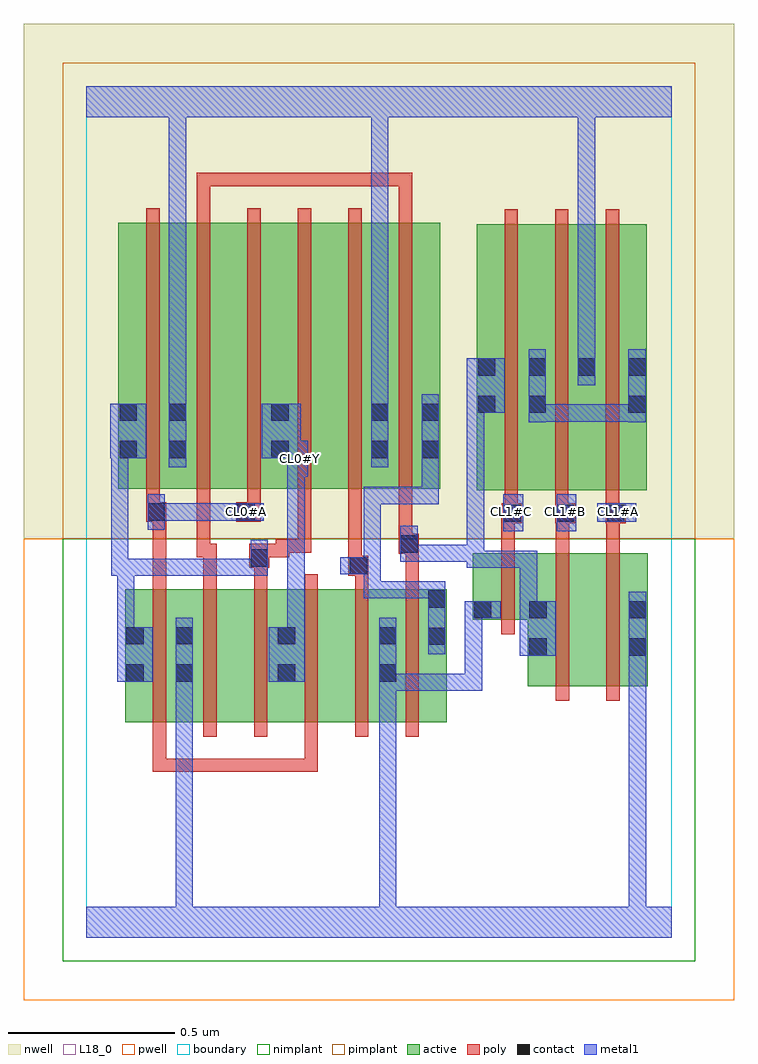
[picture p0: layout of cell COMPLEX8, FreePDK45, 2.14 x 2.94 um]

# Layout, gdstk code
import gdstk
lib = gdstk.Library(unit=1e-6, precision=1e-09)
def R(c, l, rs):  # rectangles x0, y0, x1, y1
    for r in rs: c.add(gdstk.rectangle(r[:2], r[2:], *l))
def A(c, l, x, y, w, h, nx, ny, dx, dy):  # array of equal rectangles
    R(c, l, [(x+i*dx, y+j*dy, x+i*dx+w, y+j*dy+h) for i in range(nx) for j in range(ny)])
active = (1, 0)
pwell = (2, 0)
nwell = (3, 0)
nimplant = (4, 0)
pimplant = (5, 0)
poly = (9, 0)
contact = (10, 0)
metal1 = (11, 0)
L18_0 = (18, 0)
boundary = (235, 0)

complex8 = lib.new_cell('COMPLEX8')
R(complex8, active, [(0.116,0.648,0.176,1.048), (0.116,0.648,0.324,1.048), (0.264,0.648,0.324,1.048), (0.264,0.648,0.448,1.048), (0.448,0.648,0.632,1.048), (0.572,0.648,0.632,1.048), (0.572,0.648,0.752,1.048), (0.752,0.648,0.936,1.048), (0.876,0.648,0.936,1.048), (0.876,0.648,1.084,1.048), (1.024,0.648,1.084,1.048), (1.328,0.756,1.388,1.156), (1.328,0.756,1.508,1.156), (1.508,0.756,1.688,1.156), (1.628,0.756,1.688,1.156), (1.162,0.956,1.388,1.156), (1.162,0.956,1.222,1.156), (1.174,1.346,1.234,2.096), (1.174,1.346,1.386,2.146), (1.326,1.346,1.534,2.146), (1.474,1.346,1.686,2.146), (1.626,1.346,1.686,2.096), (0.096,1.35,0.304,2.15), (0.096,1.35,0.156,2.15), (0.244,1.35,0.304,2.15), (0.244,1.35,0.428,2.15), (0.428,1.35,0.612,2.15), (0.552,1.35,0.612,2.15), (0.552,1.35,0.732,2.15), (0.732,1.35,0.912,2.15), (0.852,1.35,1.064,2.15), (0.852,1.35,0.912,2.044), (1.004,1.35,1.064,2.15), (1.326,1.416,1.386,2.096), (1.474,1.686,1.534,2.146)])
R(complex8, pwell, [(-0.188,-0.188,1.948,1.2)])
R(complex8, nwell, [(-0.188,1.2,1.948,2.748)])
R(complex8, nimplant, [(-0.072,-0.072,1.832,1.2)])
R(complex8, pimplant, [(-0.072,1.2,1.832,2.632)])
A(complex8, poly, 0.2, 0.604, 0.04, 0.488, 6, 1, 0.152, 0)
A(complex8, poly, 1.258, 1.266, 0.04, 0.076, 3, 1, 0.152, 0)
A(complex8, poly, 1.258, 1.302, 0.04, 0.888, 3, 1, 0.152, 0)
A(complex8, poly, 0.18, 1.306, 0.04, 0.888, 6, 1, 0.152, 0)
R(complex8, poly, [(0.2,0.498,0.24,0.538), (0.2,0.498,0.24,0.644), (0.2,0.498,0.346,0.538), (0.306,0.498,0.346,0.538), (0.306,0.498,0.346,0.538), (0.306,0.498,0.346,0.538), (0.306,0.498,0.504,0.538), (0.464,0.498,0.504,0.538), (0.464,0.498,0.504,0.538), (0.464,0.498,0.504,0.538), (0.464,0.498,0.696,0.538), (0.656,0.498,0.696,0.538), (0.656,0.498,0.696,0.538), (0.656,0.498,0.696,0.538), (0.656,0.498,0.696,0.644), (1.412,0.712,1.452,1.2), (1.564,0.712,1.604,1.2), (1.248,0.912,1.288,1.2), (0.2,1.052,0.24,1.29), (0.352,1.052,0.392,1.184), (0.504,1.052,0.544,1.152), (0.808,1.052,0.848,1.128), (0.96,1.052,1,1.194), (0.788,1.088,0.848,1.148), (0.788,1.108,0.828,1.148), (0.788,1.108,0.828,1.148), (0.788,1.108,0.828,1.346), (0.49,1.112,0.55,1.184), (0.332,1.144,0.372,1.184), (0.332,1.144,0.372,1.184), (0.332,1.144,0.372,1.346), (0.332,1.144,0.392,1.184), (0.51,1.144,0.61,1.184), (0.57,1.144,0.61,1.198), (0.94,1.154,1,1.214), (0.57,1.158,0.676,1.198), (0.636,1.158,0.676,1.198), (0.636,1.158,0.676,1.198), (0.636,1.158,0.676,1.198), (0.636,1.158,0.676,1.346), (1.248,1.16,1.288,1.286), (1.412,1.16,1.452,1.286), (1.564,1.16,1.604,1.286), (0.94,1.174,0.98,1.214), (0.94,1.174,0.98,1.214), (0.94,1.174,0.98,1.346), (1.248,1.246,1.29,1.286), (1.25,1.246,1.29,1.286), (1.25,1.246,1.31,1.306), (1.41,1.246,1.47,1.306), (1.562,1.246,1.622,1.306), (1.564,1.246,1.604,1.286), (1.564,1.246,1.604,1.286), (0.18,1.25,0.24,1.31), (0.2,1.25,0.24,1.29), (0.2,1.25,0.24,1.29), (0.45,1.25,0.524,1.31), (1.41,1.266,1.45,1.306), (1.41,1.266,1.45,1.306), (0.18,1.27,0.22,1.346), (0.484,1.27,0.524,1.346), (0.332,2.154,0.372,2.3), (0.94,2.154,0.98,2.3), (0.332,2.26,0.372,2.3), (0.332,2.26,0.504,2.3), (0.464,2.26,0.504,2.3), (0.464,2.26,0.504,2.3), (0.464,2.26,0.504,2.3), (0.464,2.26,0.722,2.3), (0.682,2.26,0.722,2.3), (0.682,2.26,0.722,2.3), (0.682,2.26,0.722,2.3), (0.682,2.26,0.874,2.3), (0.834,2.26,0.874,2.3), (0.834,2.26,0.874,2.3), (0.834,2.26,0.874,2.3), (0.834,2.26,0.98,2.3), (0.94,2.26,0.98,2.3), (0.94,2.26,0.98,2.3), (0.94,2.26,0.98,2.3)])
R(complex8, contact, [(0.12,0.77,0.172,0.822), (0.268,0.77,0.32,0.822), (0.576,0.77,0.628,0.822), (0.88,0.77,0.932,0.822), (1.332,0.848,1.384,0.9), (1.632,0.848,1.684,0.9), (1.028,0.88,1.08,0.932), (0.12,0.882,0.172,0.934), (0.268,0.882,0.32,0.934), (0.576,0.882,0.628,0.934), (0.88,0.882,0.932,0.934), (1.166,0.96,1.218,1.012), (1.332,0.96,1.384,1.012), (1.632,0.96,1.684,1.012), (1.028,0.992,1.08,1.044), (0.792,1.092,0.844,1.144), (0.494,1.116,0.546,1.168), (0.944,1.158,0.996,1.21), (1.254,1.25,1.306,1.302), (1.414,1.25,1.466,1.302), (1.566,1.25,1.618,1.302), (0.184,1.254,0.236,1.306), (0.454,1.254,0.506,1.306), (0.1,1.442,0.152,1.494), (0.248,1.442,0.3,1.494), (0.556,1.442,0.608,1.494), (0.856,1.442,0.908,1.494), (1.008,1.442,1.06,1.494), (0.1,1.554,0.152,1.606), (0.248,1.554,0.3,1.606), (0.556,1.554,0.608,1.606), (0.856,1.554,0.908,1.606), (1.008,1.554,1.06,1.606), (1.178,1.578,1.23,1.63), (1.33,1.578,1.382,1.63), (1.63,1.578,1.682,1.63), (1.178,1.69,1.23,1.742), (1.33,1.69,1.382,1.742), (1.478,1.69,1.53,1.742), (1.63,1.69,1.682,1.742)])
R(complex8, metal1, [(0,0,1.76,0.092), (0.268,0.04,0.32,0.092), (0.268,0.04,0.32,0.092), (0.268,0.04,0.32,0.092), (0.268,0.04,0.32,0.092), (0.268,0.04,0.32,0.092), (0.268,0.04,0.32,0.092), (0.268,0.04,0.32,0.794), (0.88,0.04,0.932,0.092), (0.88,0.04,0.932,0.092), (0.88,0.04,0.932,0.092), (0.88,0.04,0.932,0.092), (0.88,0.04,0.932,0.092), (0.88,0.04,0.932,0.092), (0.88,0.04,0.932,0.092), (0.88,0.04,0.932,0.092), (0.88,0.04,0.932,0.794), (1.632,0.04,1.684,0.092), (1.632,0.04,1.684,0.092), (1.632,0.04,1.684,0.092), (1.632,0.04,1.684,0.092), (1.632,0.04,1.684,0.872), (0.268,0.742,0.32,0.794), (0.268,0.742,0.32,0.794), (0.268,0.742,0.32,0.794), (0.268,0.742,0.32,0.794), (0.268,0.742,0.32,0.794), (0.268,0.742,0.32,0.794), (0.268,0.742,0.32,0.962), (0.88,0.742,0.932,0.794), (0.88,0.742,0.932,0.794), (0.88,0.742,0.932,0.794), (0.88,0.742,0.932,0.794), (0.88,0.742,0.932,0.962), (0.88,0.742,1.08,0.794), (1.028,0.742,1.08,0.794), (1.028,0.742,1.08,0.794), (1.028,0.742,1.08,0.794), (1.028,0.742,1.19,0.794), (1.138,0.742,1.19,0.794), (1.138,0.742,1.19,1.012), (0.092,0.77,0.2,0.934), (0.548,0.77,0.656,0.934), (1.632,0.82,1.684,0.872), (1.632,0.82,1.684,0.872), (1.632,0.82,1.684,0.872), (1.632,0.82,1.684,0.872), (1.632,0.82,1.684,0.872), (1.632,0.82,1.684,0.872), (1.632,0.82,1.684,0.872), (1.632,0.82,1.684,0.872), (1.632,0.82,1.684,1.04), (1.304,0.848,1.412,1.012), (1.028,0.852,1.08,1.072), (0.092,0.882,0.144,1.14), (0.604,0.882,0.656,1.438), (1.138,0.96,1.19,1.012), (1.138,0.96,1.19,1.012), (1.138,0.96,1.246,1.012), (1.304,0.96,1.356,1.164), (0.834,1.02,0.886,1.072), (0.834,1.02,1.08,1.072), (0.834,1.02,0.886,1.144), (1.028,1.02,1.08,1.072), (1.028,1.02,1.08,1.072), (0.074,1.088,0.144,1.14), (0.074,1.088,0.126,1.494), (0.092,1.088,0.144,1.14), (0.092,1.088,0.144,1.14), (0.092,1.088,0.346,1.14), (0.294,1.088,0.346,1.14), (0.294,1.088,0.346,1.14), (0.294,1.088,0.346,1.14), (0.294,1.088,0.47,1.14), (0.418,1.088,0.47,1.14), (0.418,1.088,0.546,1.14), (0.494,1.088,0.546,1.196), (0.764,1.092,0.872,1.144), (0.82,1.092,0.886,1.144), (0.834,1.092,0.886,1.144), (0.834,1.092,0.886,1.356), (1.144,1.112,1.196,1.164), (1.144,1.112,1.196,1.164), (1.144,1.112,1.356,1.164), (1.144,1.112,1.196,1.182), (1.304,1.112,1.356,1.164), (0.944,1.13,0.996,1.238), (0.944,1.13,1.086,1.182), (1.034,1.13,1.086,1.182), (1.034,1.13,1.196,1.182), (1.144,1.13,1.196,1.63), (1.254,1.222,1.314,1.334), (1.414,1.222,1.474,1.334), (0.184,1.226,0.236,1.334), (1.536,1.25,1.654,1.306), (0.184,1.254,0.254,1.306), (0.202,1.254,0.254,1.306), (0.202,1.254,0.346,1.306), (0.294,1.254,0.346,1.306), (0.294,1.254,0.47,1.306), (0.418,1.254,0.47,1.306), (0.418,1.254,0.478,1.306), (0.426,1.254,0.534,1.306), (0.834,1.304,0.886,1.356), (0.834,1.304,1.06,1.356), (1.008,1.304,1.06,1.356), (1.008,1.304,1.06,1.356), (1.008,1.304,1.06,1.356), (1.008,1.304,1.06,1.466), (0.604,1.386,0.666,1.494), (0.248,1.414,0.3,1.634), (0.856,1.414,0.908,1.634), (1.008,1.414,1.06,1.634), (0.072,1.442,0.18,1.606), (0.074,1.442,0.126,1.494), (0.074,1.442,0.126,1.494), (0.528,1.442,0.644,1.606), (0.592,1.442,0.644,1.494), (0.592,1.442,0.656,1.494), (0.604,1.442,0.656,1.494), (1.33,1.55,1.382,1.77), (1.63,1.55,1.682,1.77), (1.33,1.552,1.382,1.604), (1.33,1.552,1.382,1.604), (1.33,1.552,1.572,1.604), (1.52,1.552,1.572,1.604), (1.52,1.552,1.682,1.604), (1.63,1.552,1.682,1.604), (1.63,1.552,1.682,1.604), (1.144,1.578,1.196,1.63), (1.144,1.578,1.196,1.63), (1.144,1.578,1.258,1.742), (0.248,1.582,0.3,1.634), (0.248,1.582,0.3,1.634), (0.248,1.582,0.3,2.52), (0.856,1.582,0.908,2.52), (1.478,1.662,1.53,1.77), (1.478,1.718,1.53,1.77), (1.478,1.718,1.53,1.77), (1.478,1.718,1.53,1.77), (1.478,1.718,1.53,1.77), (1.478,1.718,1.53,2.52), (0,2.468,1.76,2.56), (0.248,2.468,0.3,2.52), (0.248,2.468,0.3,2.52), (0.248,2.468,0.3,2.52), (0.248,2.468,0.3,2.52), (0.248,2.468,0.3,2.52), (0.248,2.468,0.3,2.52), (0.856,2.468,0.908,2.52), (0.856,2.468,0.908,2.52), (0.856,2.468,0.908,2.52), (0.856,2.468,0.908,2.52), (0.856,2.468,0.908,2.52), (0.856,2.468,0.908,2.52), (0.856,2.468,0.908,2.52), (0.856,2.468,0.908,2.52), (1.478,2.468,1.53,2.52), (1.478,2.468,1.53,2.52), (1.478,2.468,1.53,2.52), (1.478,2.468,1.53,2.52)])
A(complex8, L18_0, 1.254, 1.254, 0.052, 0.052, 3, 1, 0.16, 0)
R(complex8, L18_0, [(0,0,1.76,0.092), (0.268,0.04,0.32,0.092), (0.268,0.04,0.32,0.092), (0.268,0.04,0.32,0.092), (0.268,0.04,0.32,0.092), (0.268,0.04,0.32,0.092), (0.268,0.04,0.32,0.092), (0.268,0.04,0.32,0.794), (0.88,0.04,0.932,0.092), (0.88,0.04,0.932,0.092), (0.88,0.04,0.932,0.092), (0.88,0.04,0.932,0.092), (0.88,0.04,0.932,0.092), (0.88,0.04,0.932,0.092), (0.88,0.04,0.932,0.092), (0.88,0.04,0.932,0.092), (0.88,0.04,0.932,0.794), (1.632,0.04,1.684,0.092), (1.632,0.04,1.684,0.092), (1.632,0.04,1.684,0.092), (1.632,0.04,1.684,0.092), (1.632,0.04,1.684,0.872), (0.268,0.742,0.32,0.794), (0.268,0.742,0.32,0.794), (0.268,0.742,0.32,0.794), (0.268,0.742,0.32,0.794), (0.268,0.742,0.32,0.794), (0.268,0.742,0.32,0.794), (0.268,0.742,0.32,0.962), (0.88,0.742,0.932,0.794), (0.88,0.742,0.932,0.794), (0.88,0.742,0.932,0.794), (0.88,0.742,0.932,0.794), (0.88,0.742,0.932,0.962), (0.88,0.742,1.08,0.794), (1.028,0.742,1.08,0.794), (1.028,0.742,1.08,0.794), (1.028,0.742,1.08,0.794), (1.028,0.742,1.19,0.794), (1.138,0.742,1.19,0.794), (1.138,0.742,1.19,1.012), (0.548,0.77,0.656,0.934), (1.632,0.82,1.684,0.872), (1.632,0.82,1.684,0.872), (1.632,0.82,1.684,0.872), (1.632,0.82,1.684,0.872), (1.632,0.82,1.684,0.872), (1.632,0.82,1.684,0.872), (1.632,0.82,1.684,0.872), (1.632,0.82,1.684,0.872), (1.632,0.82,1.684,1.04), (0.604,0.882,0.656,1.438), (1.138,0.96,1.19,1.012), (1.138,0.96,1.19,1.012), (1.138,0.96,1.246,1.012), (1.254,1.222,1.314,1.334), (1.414,1.222,1.474,1.334), (0.184,1.226,0.236,1.334), (1.536,1.25,1.654,1.306), (0.184,1.254,0.254,1.306), (0.202,1.254,0.254,1.306), (0.202,1.254,0.346,1.306), (0.294,1.254,0.346,1.306), (0.294,1.254,0.47,1.306), (0.418,1.254,0.47,1.306), (0.418,1.254,0.478,1.306), (0.426,1.254,0.534,1.306), (0.454,1.254,0.506,1.306), (0.604,1.386,0.666,1.494), (0.248,1.414,0.3,1.634), (0.614,1.414,0.666,1.466), (0.856,1.414,0.908,1.634), (0.528,1.442,0.644,1.606), (0.592,1.442,0.644,1.494), (0.592,1.442,0.656,1.494), (0.604,1.442,0.656,1.494), (0.248,1.582,0.3,1.634), (0.248,1.582,0.3,1.634), (0.248,1.582,0.3,2.52), (0.856,1.582,0.908,2.52), (1.478,1.662,1.53,1.77), (1.478,1.718,1.53,1.77), (1.478,1.718,1.53,1.77), (1.478,1.718,1.53,1.77), (1.478,1.718,1.53,1.77), (1.478,1.718,1.53,2.52), (0,2.468,1.76,2.56), (0.248,2.468,0.3,2.52), (0.248,2.468,0.3,2.52), (0.248,2.468,0.3,2.52), (0.248,2.468,0.3,2.52), (0.248,2.468,0.3,2.52), (0.248,2.468,0.3,2.52), (0.856,2.468,0.908,2.52), (0.856,2.468,0.908,2.52), (0.856,2.468,0.908,2.52), (0.856,2.468,0.908,2.52), (0.856,2.468,0.908,2.52), (0.856,2.468,0.908,2.52), (0.856,2.468,0.908,2.52), (0.856,2.468,0.908,2.52), (1.478,2.468,1.53,2.52), (1.478,2.468,1.53,2.52), (1.478,2.468,1.53,2.52), (1.478,2.468,1.53,2.52)])
R(complex8, boundary, [(0,0,1.76,2.56)])
complex8.add(gdstk.Label('CL0#A', (0.48,1.28), layer=11, texttype=0))
complex8.add(gdstk.Label('CL0#Y', (0.64,1.44), layer=11, texttype=0))
complex8.add(gdstk.Label('CL1#A', (1.6,1.28), layer=11, texttype=0))
complex8.add(gdstk.Label('CL1#B', (1.44,1.28), layer=11, texttype=0))
complex8.add(gdstk.Label('CL1#C', (1.28,1.28), layer=11, texttype=0))

lib.write_gds('COMPLEX8.gds')
